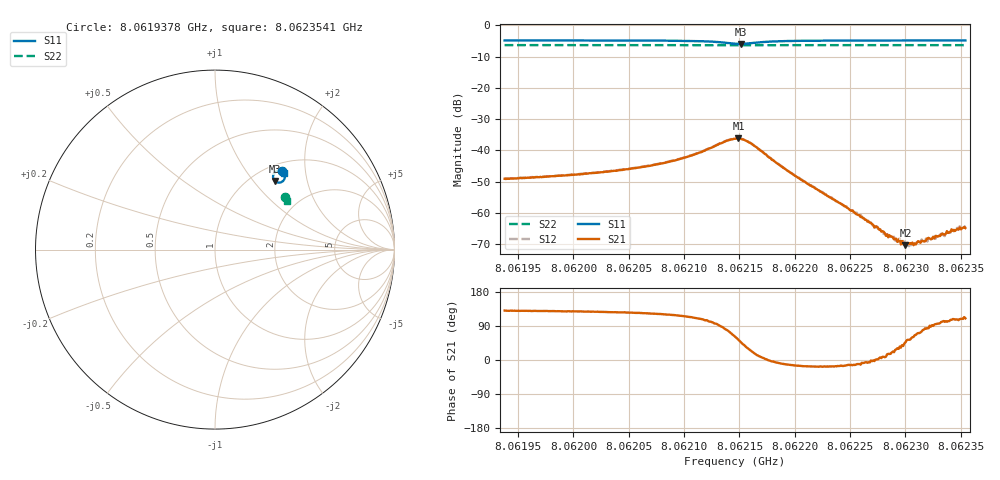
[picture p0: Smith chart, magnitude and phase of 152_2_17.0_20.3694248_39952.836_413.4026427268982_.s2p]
#  HZ  S  RI  R  50.00
! Rohde & Schwarz Vector Network Analyzer
! Rohde-Schwarz,ZNB20-2Port,1311601062101988,3.16
! Created: UTC 3/20/2024, 10:58:53 PM
! freq[Hz]  re:S11  im:S11  re:S21  im:S21  re:S12  im:S12  re:S22  im:S22
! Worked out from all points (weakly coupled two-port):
!   401 points, 8.0619378 GHz to 8.0623541 GHz, reference 50 ohm
!   highest |S21| = -36.19 dB at 8.0621491 GHz (marker M1); lowest = -70.4 dB at 8.0623 GHz (marker M2)
!   lowest |S11| = -5.9 dB at 8.0621511 GHz (marker M3), VSWR 3.06, Z = 62.8 + j64.8 ohm
!   |S11| at or under -10 dB: nowhere
!   |S22| runs from -6.3 to -6.3 dB; largest |S21 - S12| = 0.0011
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8.06193775e9  0.3723 0.4392  -0.00227 0.00266  -0.00212 0.00283  0.3873 0.2922
8.06200749e9  0.3782 0.4332  -0.00256 0.00327  -0.0024 0.00348  0.3898 0.2885
8.06204913e9  0.3826 0.428  -0.00287 0.00406  -0.00265 0.00429  0.3912 0.2864
8.06207724e9  0.3861 0.4221  -0.00316 0.00514  -0.00286 0.0054  0.3923 0.2847
8.06210534e9  0.3894 0.4105  -0.00323 0.00744  -0.00282 0.00773  0.3932 0.2828
8.06213761e9  0.3708 0.3766  0.0023 0.0139  0.00306 0.0138  0.3926 0.2802
8.06214594e9  0.348 0.3745  0.00722 0.0135  0.00814 0.0131  0.3919 0.28
8.06214906e9  0.3389 0.3785  0.00932 0.0124  0.0101 0.0118  0.3918 0.2803
8.06215114e9  0.3334 0.3827  0.0104 0.0112  0.0111 0.0107  0.3917 0.2805
8.06216155e9  0.3237 0.4115  0.0116 0.00453  0.012 0.00391  0.392 0.2815
8.06219382e9  0.3536 0.4395  0.00456 -0.000975  0.0045 -0.00129  0.3947 0.2806
8.06221568e9  0.3641 0.4389  0.00252 -0.000772  0.0025 -0.000947  0.3959 0.2795
8.06225732e9  0.374 0.4354  0.000904 -0.000173  0.00093 -0.000192  0.3975 0.2772
8.06228126e9  0.3776 0.4333  0.000468 6.03e-05  0.000464 4.96e-05  0.3985 0.276
8.06228542e9  0.378 0.4329  0.00042 0.00012  0.000409 0.00011  0.3986 0.2757
8.06229375e9  0.3791 0.4323  0.000307 0.000172  0.000316 0.000152  0.3988 0.2753
8.06229999e9  0.3796 0.432  0.000206 0.000219  0.000234 0.0002  0.3989 0.275
8.06230416e9  0.3802 0.4315  0.000193 0.000263  0.000173 0.000254  0.3992 0.2746
8.06230728e9  0.3805 0.4313  0.000148 0.000263  0.00018 0.000279  0.3993 0.2745
8.06232498e9  0.3823 0.4302  7.41e-07 0.000412  1.33e-05 0.000388  0.3999 0.2738
8.06234684e9  0.3841 0.4287  -0.000159 0.000528  -0.000157 0.000551  0.4006 0.2726
8.06235412e9  0.3849 0.4283  -0.000194 0.000534  -0.000207 0.000588  0.4008 0.2721
